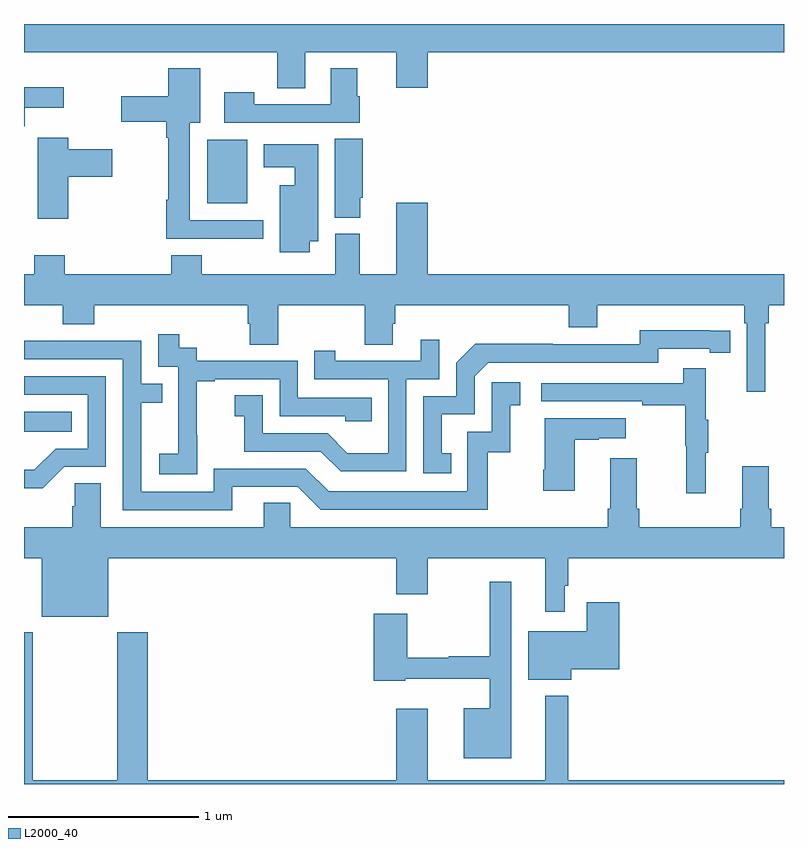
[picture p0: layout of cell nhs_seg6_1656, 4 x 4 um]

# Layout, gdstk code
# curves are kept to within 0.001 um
import gdstk
lib = gdstk.Library(unit=1e-6, precision=1e-09)
def R(c, l, rs):  # rectangles x0, y0, x1, y1
    for r in rs: c.add(gdstk.rectangle(r[:2], r[2:], *l))
def P(c, l, *ps):  # polygons
    for p in ps: c.add(gdstk.Polygon(p, *l))
L2000_40 = (2000, 40)

nhs_seg6_1656 = lib.new_cell('nhs_seg6_1656')
R(nhs_seg6_1656, L2000_40, [(211,929.354,211.25,929.458), (211.964,930.557,212.176,930.892)])
P(nhs_seg6_1656, L2000_40, [(212.479,931.352),(212.96,931.352),(212.96,931.164),(213.124,931.164),(213.124,931.352),(215,931.352),(215,931.5),(211,931.5),(211,931.352),(212.332,931.352),(212.332,931.162),(212.479,931.162)],
  [(212.768,931.119),(212.755,931.119),(212.755,931.267),(212.615,931.267),(212.615,931.077),(212.211,931.077),(212.211,931.141),(212.055,931.141),(212.055,930.981),(212.768,930.981)],
  [(212.26,930.468),(211.873,930.468),(211.873,930.98),(211.927,930.98),(211.927,931.267),(211.76,931.267),(211.76,931.12),(211.512,931.12),(211.512,930.986),(211.748,930.986),(211.748,930.902),(211.76,930.902),(211.76,930.575),(211.748,930.575),(211.748,930.371),(212.26,930.371)],
  [(211.004,931.058),(211.21,931.058),(211.21,931.166),(211,931.166),(211,930.962),(211.004,930.962)],
  [(211.232,930.695),(211.465,930.695),(211.465,930.842),(211.232,930.842),(211.232,930.901),(211.073,930.901),(211.073,930.474),(211.232,930.474)],
  [(212.77,930.586),(212.783,930.586),(212.783,930.896),(212.636,930.896),(212.636,930.481),(212.77,930.481)],
  [(212.503,930.356),(212.548,930.356),(212.548,930.868),(212.261,930.868),(212.261,930.746),(212.426,930.746),(212.426,930.652),(212.345,930.652),(212.345,930.3),(212.503,930.3)],
  [(211.935,930.283),(211.775,930.283),(211.775,930.184),(211.214,930.184),(211.214,930.283),(211.054,930.283),(211.054,930.184),(211,930.184),(211,930.02),(211.205,930.02),(211.205,929.921),(211.37,929.921),(211.37,930.02),(212.177,930.02),(212.177,929.922),(212.189,929.922),(212.189,929.812),(212.337,929.812),(212.337,930.02),(212.794,930.02),(212.794,929.812),(212.941,929.812),(212.941,929.922),(212.954,929.922),(212.954,930.02),(213.866,930.02),(213.866,929.903),(214.018,929.903),(214.018,930.02),(214.79,930.02),(214.79,929.924),(214.803,929.924),(214.803,929.565),(214.9,929.565),(214.9,929.924),(214.919,929.924),(214.919,930.02),(215,930.02),(215,930.184),(213.124,930.184),(213.124,930.559),(212.96,930.559),(212.96,930.184),(212.767,930.184),(212.767,930.396),(212.639,930.396),(212.639,930.184),(211.935,930.184)],
  [(213.248,929.241),(213.199,929.241),(213.199,929.445),(213.372,929.445),(213.372,929.646),(213.444,929.718),(214.338,929.718),(214.338,929.79),(214.61,929.79),(214.61,929.77),(214.718,929.77),(214.718,929.886),(214.242,929.887),(214.242,929.814),(213.782,929.814),(213.782,929.816),(213.374,929.816),(213.276,929.718),(213.276,929.541),(213.102,929.541),(213.102,929.136),(213.248,929.136)],
  [(211.911,929.335),(211.91,929.335),(211.91,929.619),(212.005,929.619),(212.005,929.631),(212.346,929.631),(212.346,929.436),(212.691,929.436),(212.691,929.409),(212.831,929.409),(212.831,929.532),(212.442,929.532),(212.442,929.727),(211.908,929.727),(211.908,929.796),(211.816,929.796),(211.816,929.866),(211.707,929.866),(211.707,929.697),(211.812,929.697),(211.812,929.468),(211.811,929.468),(211.811,929.239),(211.713,929.239),(211.713,929.129),(211.911,929.129)],
  [(213.012,929.631),(213.186,929.631),(213.186,929.839),(213.089,929.839),(213.089,929.727),(212.638,929.727),(212.638,929.779),(212.527,929.779),(212.527,929.631),(212.916,929.631),(212.916,929.242),(212.702,929.242),(212.598,929.346),(212.256,929.346),(212.256,929.545),(212.109,929.545),(212.109,929.435),(212.158,929.435),(212.158,929.25),(212.561,929.25),(212.666,929.145),(213.012,929.145)],
  [(212.095,929.064),(212.442,929.064),(212.562,928.944),(213.442,928.944),(213.442,929.247),(213.56,929.247),(213.56,929.493),(213.613,929.493),(213.613,929.614),(213.462,929.614),(213.462,929.355),(213.333,929.355),(213.333,929.04),(212.604,929.04),(212.484,929.16),(211.998,929.16),(211.998,929.037),(211.617,929.037),(211.617,929.506),(211.727,929.506),(211.727,929.607),(211.617,929.607),(211.617,929.832),(211.121,929.832),(211.121,929.834),(211,929.834),(211,929.736),(211.521,929.736),(211.521,928.941),(212.095,928.941)],
  [(214.589,929.243),(214.6,929.243),(214.6,929.417),(214.589,929.417),(214.589,929.689),(214.471,929.689),(214.471,929.61),(213.723,929.61),(213.723,929.514),(214.255,929.514),(214.255,929.494),(214.479,929.494),(214.479,929.28),(214.486,929.28),(214.486,929.031),(214.589,929.031)],
  [(211.212,929.169),(211.431,929.169),(211.431,929.646),(211,929.646),(211,929.55),(211.335,929.55),(211.335,929.265),(211.166,929.265),(211.055,929.154),(211,929.154),(211,929.057),(211.099,929.057)],
  [(213.898,929.311),(214.025,929.311),(214.025,929.321),(214.168,929.321),(214.168,929.425),(213.74,929.425),(213.74,929.155),(213.733,929.155),(213.733,929.043),(213.898,929.043)],
  [(212.4,928.979),(212.261,928.979),(212.261,928.852),(211.405,928.852),(211.405,929.084),(211.266,929.084),(211.266,928.961),(211.253,928.961),(211.253,928.852),(211,928.852),(211,928.688),(211.094,928.688),(211.094,928.379),(211.444,928.379),(211.444,928.688),(212.96,928.688),(212.96,928.5),(213.124,928.5),(213.124,928.688),(213.743,928.688),(213.743,928.407),(213.847,928.407),(213.847,928.543),(213.865,928.543),(213.865,928.688),(215,928.688),(215,928.852),(214.934,928.852),(214.934,928.948),(214.921,928.948),(214.921,929.173),(214.781,929.173),(214.781,928.948),(214.769,928.948),(214.769,928.852),(214.238,928.852),(214.238,928.948),(214.225,928.948),(214.225,929.215),(214.085,929.215),(214.085,928.948),(214.073,928.948),(214.073,928.852),(212.4,928.852)],
  [(213.565,928.564),(213.451,928.564),(213.451,928.172),(213.236,928.172),(213.236,928.165),(213.018,928.165),(213.018,928.396),(212.84,928.396),(212.84,928.043),(213.006,928.043),(213.006,928.055),(213.451,928.055),(213.451,927.898),(213.314,927.898),(213.314,927.635),(213.565,927.635)],
  [(213.88,928.103),(214.133,928.103),(214.133,928.456),(213.962,928.456),(213.962,928.303),(213.653,928.303),(213.653,928.049),(213.88,928.049)],
  [(215,927.52),(213.865,927.52),(213.865,927.964),(213.743,927.964),(213.743,927.52),(213.124,927.52),(213.124,927.895),(212.96,927.895),(212.96,927.52),(211.652,927.52),(211.652,928.3),(211.492,928.3),(211.492,927.52),(211.047,927.52),(211.047,928.3),(211,928.3),(211,927.5),(215,927.5)])

lib.write_gds('nhs_seg6_1656.gds')
